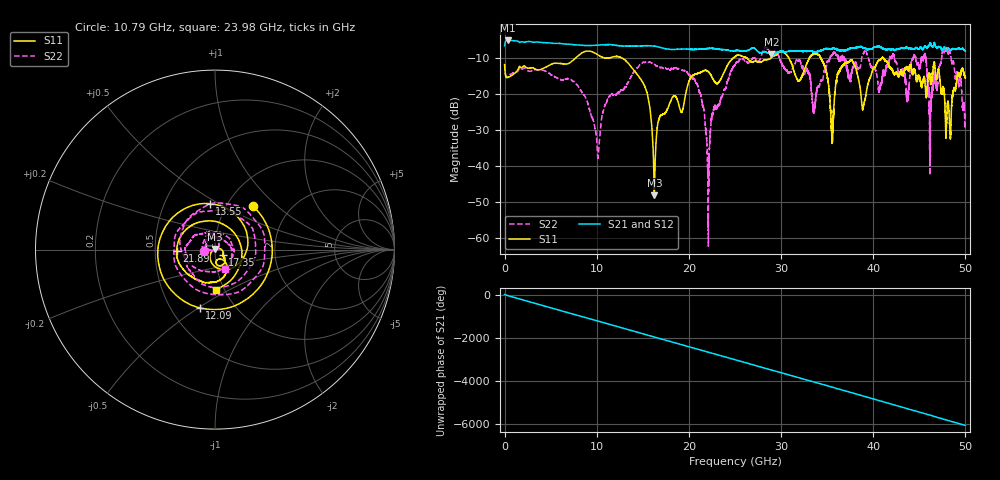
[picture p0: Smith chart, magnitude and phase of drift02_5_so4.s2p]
!Created with skrf (http://scikit-rf.org).
# Hz S RI R 50.0
!freq ReS11 ImS11 ReS21 ImS21 ReS12 ImS12 ReS22 ImS22
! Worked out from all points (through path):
!   10001 points, 300 kHz to 50 GHz, reference 50 ohm
!   highest |S21| = -5.04 dB at 325.3 MHz (marker M1); lowest = -8.9 dB at 28.96 GHz (marker M2)
!   group delay of S21, straight-line fit = 336 ps
!   lowest |S11| = -48.0 dB at 16.25 GHz (marker M3), VSWR 1.01, Z = 49.9 + j0.368 ohm
!   |S11| at or under -10 dB: start of sweep to 7.668 GHz; 12.81 GHz to 24.77 GHz (11.96 GHz wide, 63.6 % of centre); 41.13 GHz to end of sweep (the widest 3 of 11)
!   |S22| runs from -62.2 to -6.8 dB; largest |S21 - S12| = 0.031
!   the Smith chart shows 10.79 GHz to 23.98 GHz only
!   S11 on the Smith chart (normalised r, x): 10.79 GHz: 1.32, +0.71; 12.09 GHz: 0.69, -0.51; 13.55 GHz: 0.83, +0.45; 17.35 GHz: 1.09, -0.07; 21.89 GHz: 0.65, -0.01; 23.98 GHz: 0.91, -0.43
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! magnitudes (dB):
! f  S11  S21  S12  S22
! 300 kHz  -11.8  -6.5  -6.5  -11.7
! 325.3 MHz  -15.3  -5.0  -5.0  -15.1
! 8.335 GHz  -8.6  -6.4  -6.4  -19.2
! 10.11 GHz  -9.0  -6.3  -6.4  -37.4
! 10.79 GHz  -9.9  -6.2  -6.2  -23.9
! 12.09 GHz  -9.5  -6.4  -6.4  -20.1
! 13.55 GHz  -11.8  -6.6  -6.6  -15.9
! 16.25 GHz  -48.0  -6.7  -6.6  -11.6
! 16.67 GHz  -27.5  -6.8  -6.8  -12.2
! 17.35 GHz  -25.4  -7.3  -7.3  -12.7
! 20.75 GHz  -14.3  -7.5  -7.5  -16.9
! 21.89 GHz  -13.4  -7.3  -7.3  -31.3
! 23.98 GHz  -13.0  -7.6  -7.6  -18.4
! 25 GHz  -9.5  -7.8  -7.9  -11.8
! 28.96 GHz  -9.8  -8.9  -8.9  -8.2
! 33.34 GHz  -9.1  -8.0  -8.0  -19.9
! 35.54 GHz  -31.8  -7.3  -7.3  -9.0
! 36.8 GHz  -11.9  -7.8  -7.8  -10.2
! 41.67 GHz  -12.0  -7.4  -7.5  -11.8
! 46.24 GHz  -16.7  -6.0  -6.0  -24.6
! 48.12 GHz  -22.8  -7.3  -7.2  -8.7
! 50 GHz  -15.3  -8.0  -8.0  -25.7
